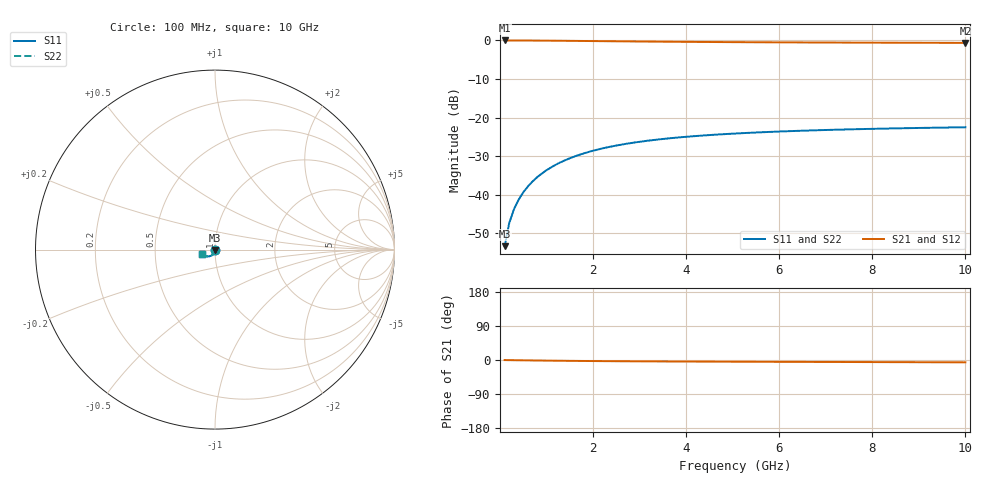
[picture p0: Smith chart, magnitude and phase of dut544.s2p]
! Touchstone file exported from HFSS 2024.1.0
!  File:  C:/UserFiles/LocalFiles/RDL_TSV_Batchsim/temp_TSV1_544_1779705721.aedt
!  Generated:  06:47:44 PM May 25, 2026
!  Design:  TSV1
!  Project:  temp_TSV1_544_1779705721
!  Setup:  Setup1
!  Solution:  Sweep
! Variables:
!  dtsv = 14.25um
!  hbump = 3um
!  htsv = 94.54um
!  lrdl = 252.1521522um
!  p = 40
!  p1 = 48.36um
!  t = 500um
!  trdl = 3um
!  wrdl = 24.89489489um
# GHz S MA R 50.000000
! Terminal data exported
! Port[1] = TSV22_T1
! Port[2] = TSV22_T2
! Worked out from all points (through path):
!   100 points, 100 MHz to 10 GHz, reference 50 ohm
!   highest |S21| = 0.00 dB at 100 MHz (marker M1); lowest = -0.6 dB at 10 GHz (marker M2)
!   lowest |S11| = -53.3 dB at 100 MHz (marker M3), VSWR 1.00, Z = 50 - j0.216 ohm
!   |S11| at or under -10 dB: start of sweep to end of sweep
!   |S22| runs from -53.3 to -22.5 dB; largest |S21 - S12| = 4e-15
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0.1  0.002158 -89.2  0.9998 -0.2  0.9998 -0.2  0.002158 -89.2
! Gamma 0 0 0 0
! Port Impedance 50 0 50 0
0.2  0.004315 -91.9  0.9996 -0.3  0.9996 -0.3  0.004315 -91.9
0.3  0.006469 -94.0  0.9993 -0.5  0.9993 -0.5  0.006469 -94.0
0.4  0.008611 -95.8  0.9988 -0.7  0.9988 -0.7  0.008611 -95.8
0.5  0.01073 -97.6  0.9983 -0.8  0.9983 -0.8  0.01073 -97.6
0.6  0.01283 -99.4  0.9976 -1.0  0.9976 -1.0  0.01283 -99.4
0.7  0.01488 -101.1  0.9968 -1.2  0.9968 -1.2  0.01488 -101.1
0.8  0.0169 -102.7  0.996 -1.3  0.996 -1.3  0.0169 -102.7
0.9  0.01888 -104.4  0.9951 -1.5  0.9951 -1.5  0.01888 -104.4
1.1  0.02269 -107.5  0.993 -1.7  0.993 -1.7  0.02269 -107.5
1.4  0.02802 -111.9  0.9895 -2.1  0.9895 -2.1  0.02802 -111.9
1.6  0.03131 -114.7  0.9869 -2.4  0.9869 -2.4  0.03131 -114.7
1.8  0.03437 -117.3  0.9843 -2.6  0.9843 -2.6  0.03437 -117.3
2.1  0.03856 -121.0  0.9804 -2.9  0.9804 -2.9  0.03856 -121.0
2.5  0.04346 -125.4  0.9753 -3.2  0.9753 -3.2  0.04346 -125.4
2.9  0.04766 -129.2  0.9704 -3.5  0.9704 -3.5  0.04766 -129.2
3.4  0.05208 -133.4  0.9649 -3.8  0.9649 -3.8  0.05208 -133.4
4.2  0.05767 -139.0  0.9573 -4.1  0.9573 -4.1  0.05767 -139.0
5.1  0.06241 -143.9  0.9504 -4.5  0.9504 -4.5  0.06241 -143.9
6.7  0.06827 -150.6  0.9414 -5.1  0.9414 -5.1  0.06827 -150.6
8.4  0.07235 -155.8  0.9348 -5.6  0.9348 -5.6  0.07235 -155.8
10  0.07498 -159.6  0.9304 -6.1  0.9304 -6.1  0.07498 -159.6
